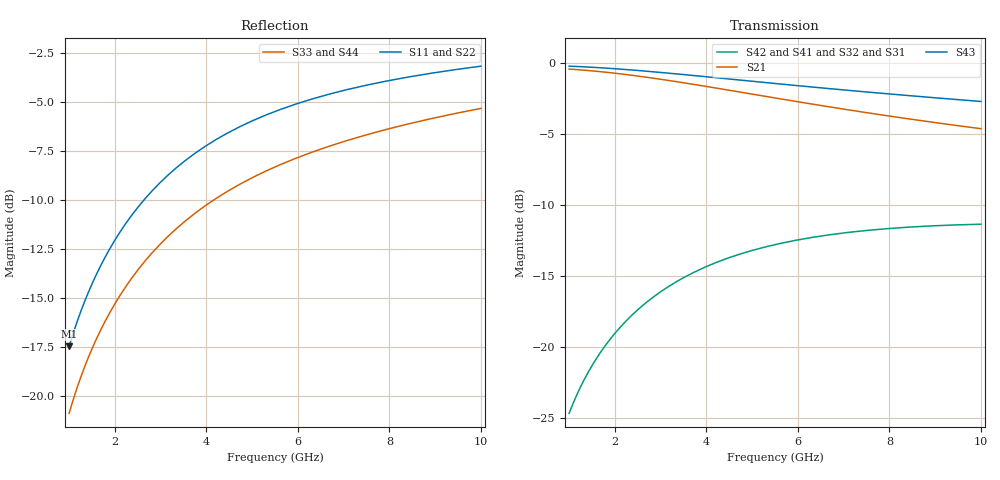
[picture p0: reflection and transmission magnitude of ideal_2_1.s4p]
! Synthetic ideal circuit; generated by generate_synthetic.py
# Hz S RI R 50
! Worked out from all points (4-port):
!   41 points, 1 GHz to 10 GHz, reference 50 ohm
!   strongest paths, dB at 1 GHz, 1.778 GHz, 3.162 GHz, 5.623 GHz, 10 GHz:
!     S43: -0.2, -0.4, -0.7, -1.5, -2.7
!     S21: -0.4, -0.7, -1.2, -2.5, -4.6
!     S42: -24.7, -20.0, -15.8, -12.7, -11.4
!     S41: -24.7, -20.0, -15.8, -12.7, -11.4
!     S32: -24.7, -20.0, -15.8, -12.7, -11.4
!     S31: -24.7, -20.0, -15.8, -12.7, -11.4
!   lowest |S11| = -17.5 dB at 1 GHz (marker M1), VSWR 1.31, Z = 54.5 + j13.4 ohm
!   |S11| at or under -10 dB: start of sweep to 2.636 GHz
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1e9  0.0585 0.1207  0.9415 -0.1282  0.0129 0.0568  -0.0129 -0.0568
     0.9415 -0.1282  0.0585 0.1207  -0.0129 -0.0568  0.0129 0.0568
     0.0129 0.0568  -0.0129 -0.0568  0.0313 0.085  0.9687 -0.0925
     -0.0129 -0.0568  0.0129 0.0568  0.9687 -0.0925  0.0313 0.085
1.496236e9  0.0817 0.1747  0.9182 -0.186  0.0279 0.0809  -0.0279 -0.0809
            0.9182 -0.186  0.0817 0.1747  -0.0279 -0.0809  0.0279 0.0809
            0.0279 0.0809  -0.0279 -0.0809  0.045 0.124  0.9549 -0.1352
            -0.0279 -0.0809  0.0279 0.0809  0.9549 -0.1352  0.045 0.124
2.113489e9  0.1199 0.2332  0.88 -0.2491  0.052 0.1047  -0.052 -0.1047
            0.88 -0.2491  0.1199 0.2332  -0.052 -0.1047  0.052 0.1047
            0.052 0.1047  -0.052 -0.1047  0.0677 0.1677  0.9322 -0.1836
            -0.052 -0.1047  0.052 0.1047  0.9322 -0.1836  0.0677 0.1677
2.985383e9  0.1845 0.2973  0.8152 -0.3198  0.092 0.1254  -0.092 -0.1254
            0.8152 -0.3198  0.1845 0.2973  -0.092 -0.1254  0.092 0.1254
            0.092 0.1254  -0.092 -0.1254  0.1067 0.2192  0.8931 -0.2417
            -0.092 -0.1254  0.092 0.1254  0.8931 -0.2417  0.1067 0.2192
3.981072e9  0.263 0.3448  0.7365 -0.3748  0.1383 0.1316  -0.1383 -0.1316
            0.7365 -0.3748  0.263 0.3448  -0.1383 -0.1316  0.1383 0.1316
            0.1383 0.1316  -0.1383 -0.1316  0.1556 0.2636  0.844 -0.2936
            -0.1383 -0.1316  0.1383 0.1316  0.844 -0.2936  0.1556 0.2636
6.309573e9  0.426 0.3813  0.5729 -0.4288  0.2217 0.0984  -0.2217 -0.0984
            0.5729 -0.4288  0.426 0.3813  -0.2217 -0.0984  0.2217 0.0984
            0.2217 0.0984  -0.2217 -0.0984  0.2656 0.3235  0.7332 -0.3711
            -0.2217 -0.0984  0.2217 0.0984  0.7332 -0.3711  0.2656 0.3235
1e10  0.5966 0.3525  0.4006 -0.4278  0.27 0.00707  -0.27 -0.00707
      0.4006 -0.4278  0.5966 0.3525  -0.27 -0.00707  0.27 0.00707
      0.27 0.00707  -0.27 -0.00707  0.4072 0.3562  0.5899 -0.4315
      -0.27 -0.00707  0.27 0.00707  0.5899 -0.4315  0.4072 0.3562
